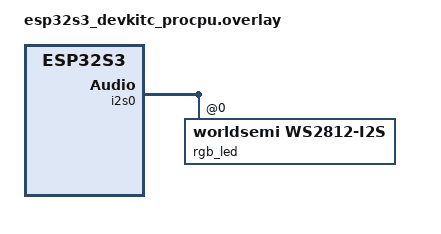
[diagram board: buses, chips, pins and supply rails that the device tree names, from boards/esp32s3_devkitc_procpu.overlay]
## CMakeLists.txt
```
cmake_minimum_required(VERSION 3.20.0)
find_package(Zephyr REQUIRED HINTS $ENV{ZEPHYR_BASE})
project(bluetooth_server)

target_include_directories(app PRIVATE src/include)

target_sources(app PRIVATE 
    src/main.c
    src/gap.c
    src/gatt.c
    src/led_strip.c
)
```

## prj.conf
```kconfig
CONFIG_BT=y
CONFIG_LOG=n
CONFIG_BT_PERIPHERAL=y

CONFIG_BT_DEVICE_NAME="Esp32 Led Strip"
CONFIG_BT_DEVICE_APPEARANCE=512

CONFIG_BT_GATT_SERVICE_CHANGED=n

CONFIG_LED_STRIP=y
```

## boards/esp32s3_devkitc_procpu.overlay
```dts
#include <zephyr/dt-bindings/led/led.h>

&i2s0_default {
	group1 {
		pinmux = <I2S0_O_SD_GPIO21>;
	};
};

i2s_led: &i2s0 {
	status = "okay";

	dmas = <&dma 3>;
	dma-names = "tx";

	rgb_led: ws2812@0 {
		compatible = "worldsemi,ws2812-i2s";

		reg = <0>;
		chain-length = <1>;
		color-mapping = <LED_COLOR_ID_GREEN
		        		 LED_COLOR_ID_RED
				         LED_COLOR_ID_BLUE>;
		reset-delay = <500>;
	};
};

&dma {
	status = "okay";
};
```

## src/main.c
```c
#include <gatt.h>
#include <gap.h>


int main() {

	bt_enable(NULL);
    start_advertising();

	return 0;
}
```

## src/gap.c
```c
#include <gap.h>

static const struct bt_data ad[] = {
    BT_DATA(
        BT_DATA_NAME_COMPLETE,
        CONFIG_BT_DEVICE_NAME,    
        (sizeof(CONFIG_BT_DEVICE_NAME) - 1)
    ),
};

void start_advertising() {
	bt_le_adv_start(BT_LE_ADV_CONN_FAST_1, ad, ARRAY_SIZE(ad), NULL, 0);
}

static void connected(struct bt_conn *conn, uint8_t err) {
	char addr[BT_ADDR_LE_STR_LEN];
	bt_addr_le_to_str(bt_conn_get_dst(conn), addr, sizeof(addr));
	printk("Connected to %s device\n", addr);
    led_strip_on();
}

static void disconnected(struct bt_conn *conn, uint8_t reason) {
	char addr[BT_ADDR_LE_STR_LEN];
	bt_addr_le_to_str(bt_conn_get_dst(conn), addr, sizeof(addr));
	printk("Disconnected from %s device\n", addr);
    led_strip_off();
}

BT_CONN_CB_DEFINE(conn_callbacks) = {
	.connected = connected,
	.disconnected = disconnected,
    .recycled = start_advertising,
};
```

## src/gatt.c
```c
#include <gatt.h>

static ssize_t read_hue(struct bt_conn *conn, const struct bt_gatt_attr *attr, void *buf, uint16_t len, uint16_t offset) {
	const char *value = hue;
    printk("Read hue value: %s\n", value);
	return bt_gatt_attr_read(conn, attr, buf, len, offset, value, strlen(value));
}

static ssize_t write_hue(struct bt_conn *conn, const struct bt_gatt_attr *attr, const void *buf, uint16_t len, uint16_t offset, uint8_t flags) {
	uint8_t *value = hue;
	memcpy(value + offset, buf, len);
	value[offset + len] = 0;
    printk("Write hue value: %s\n", value);
    led_strip_update();
	return len;
}

static ssize_t write_hue_rotate(struct bt_conn *conn, const struct bt_gatt_attr *attr, const void *buf, uint16_t len, uint16_t offset, uint8_t flags) {
    char c = ((uint8_t*)buf)[0];
	hue_rotate = c - '0';
    printk("Write hue rotate value: %d\n", (int)hue_rotate);
	return len;
}

static const struct bt_uuid_128 led_strip_svc_uuid = BT_UUID_INIT_128(
	BT_UUID_128_ENCODE(0x12345678, 0x1234, 0x5678, 0x1234, 0x56789abcdef0));

static const struct bt_uuid_128 hue_chr_uuid = BT_UUID_INIT_128(
	BT_UUID_128_ENCODE(0x12345678, 0x1234, 0x5678, 0x1234, 0x56789abcdef1));

static const struct bt_uuid_128 hue_rotate_chr_uuid = BT_UUID_INIT_128(
	BT_UUID_128_ENCODE(0x12345678, 0x1234, 0x5678, 0x1234, 0x56789abcdef2));

BT_GATT_SERVICE_DEFINE(led_strip_svc,
	BT_GATT_PRIMARY_SERVICE(&led_strip_svc_uuid),
        BT_GATT_CHARACTERISTIC(
            &hue_chr_uuid.uuid,
            BT_GATT_CHRC_READ | BT_GATT_CHRC_WRITE,
            BT_GATT_PERM_READ | BT_GATT_PERM_WRITE,
            read_hue, 
            write_hue, 
            NULL
        ),
        BT_GATT_CHARACTERISTIC(
            &hue_rotate_chr_uuid.uuid,
            BT_GATT_CHRC_WRITE,
            BT_GATT_PERM_WRITE,
            NULL, 
            write_hue_rotate, 
            NULL
        ),
);
```

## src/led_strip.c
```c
#include <led_strip.h>

#define THREAD_STACK_SIZE 1024 
#define THREAD_PRIORITY 1

#define HSL_FULL_PERIOD_MS 5000

#define RGB_LED_NODE DT_NODELABEL(rgb_led)

static const struct device *rgb_led_dev = DEVICE_DT_GET(RGB_LED_NODE);

char hue[4] = "0";
uint8_t hue_rotate = 0;

static void hsl_to_rgb(float h, float s, float l, struct led_rgb *rgb);
static void threads_entry(void * arg_1, void * arg_2, void * arg_3);


void led_strip_on() {
    struct led_rgb rgb_led_cfg;

    float hue = 0.0f;
    float saturation = 0.99f;
    float lightness = 0.50f;

    hsl_to_rgb(hue, saturation, lightness, &rgb_led_cfg);
    led_strip_update_rgb(rgb_led_dev, &rgb_led_cfg, 1);
}


void led_strip_off() {
    struct led_rgb rgb_led_cfg = {0};

    led_strip_update_rgb(rgb_led_dev, &rgb_led_cfg, 1);

    hue_rotate = 0;
}


void led_strip_update() {
    struct led_rgb rgb_led_cfg;

    int hue_value;
    float saturation = 0.99f;
    float lightness = 0.50f;

    sscanf(hue, "%d", &hue_value);

    hsl_to_rgb((float)hue_value, saturation, lightness, &rgb_led_cfg);
    led_strip_update_rgb(rgb_led_dev, &rgb_led_cfg, 1);
}


static void threads_entry(void * arg_1, void * arg_2, void * arg_3) {
    struct led_rgb rgb_led_cfg = {0};

    led_strip_update_rgb(rgb_led_dev, &rgb_led_cfg, 1);

    int hue_value;
    float saturation = 0.99f;
    float lightness = 0.50f;

    sscanf(hue, "%d", &hue_value);

    while(true) {
        k_msleep( (int)(HSL_FULL_PERIOD_MS / 360) );

        if((int)hue_rotate) {

            hsl_to_rgb((float)hue_value, saturation, lightness, &rgb_led_cfg);
            led_strip_update_rgb(rgb_led_dev, &rgb_led_cfg, 1);
        
            hue_value += 1;
            if (hue_value >= 360) hue_value = 0;
            
            snprintf(hue, 4, "%u", hue_value);
        }
    }
}

K_THREAD_DEFINE( 
    tid,                     /* thread id          */
    THREAD_STACK_SIZE,       /* stack size         */
    threads_entry,           /* thread entry point */
    NULL,                    /* argument 1         */ 
    NULL,                    /* argument 2         */
    NULL,                    /* argument 3         */
    THREAD_PRIORITY,         /* thread priority    */ 
    0,                       /* thread options     */
    0                        /* delay before start */
);

static void hsl_to_rgb(float h, float s, float l, struct led_rgb *rgb) {
    float c = (1.0f - fabsf(2.0f * l - 1.0f)) * s;
    float x = c * (1.0f - fabsf(fmodf(h / 60.0f, 2.0f) - 1.0f));
    float m = l - c / 2.0f;
    float rt, gt, bt;

    if (h < 60)      { rt = c; gt = x; bt = 0; }
    else if (h < 120) { rt = x; gt = c; bt = 0; }
    else if (h < 180) { rt = 0; gt = c; bt = x; }
    else if (h < 240) { rt = 0; gt = x; bt = c; }
    else if (h < 300) { rt = x; gt = 0; bt = c; }
    else             { rt = c; gt = 0; bt = x; }

    rgb->r = (uint8_t)((rt + m) * 255);
    rgb->g = (uint8_t)((gt + m) * 255);
    rgb->b = (uint8_t)((bt + m) * 255);
}
```
